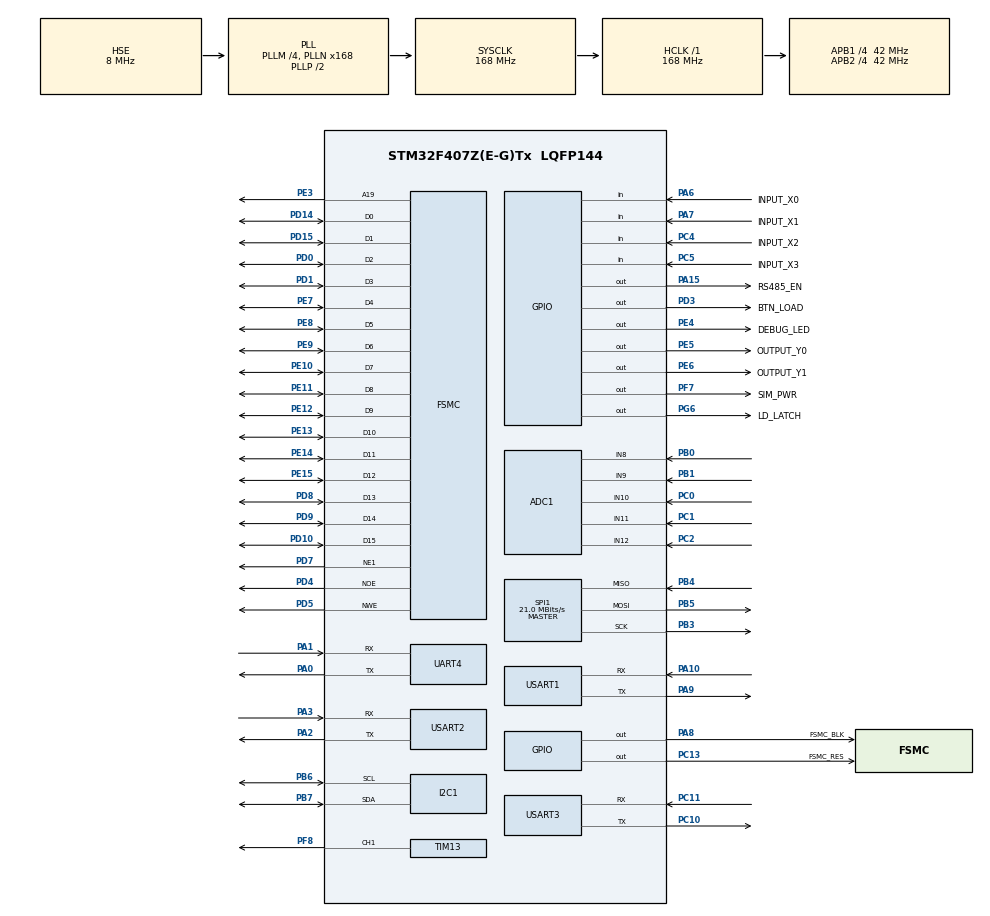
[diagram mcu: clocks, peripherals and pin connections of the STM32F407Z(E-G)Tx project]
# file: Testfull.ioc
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ADC1.Channel-0\#ChannelRegularConversion=ADC_CHANNEL_8
ADC1.Channel-1\#ChannelRegularConversion=ADC_CHANNEL_9
ADC1.Channel-2\#ChannelRegularConversion=ADC_CHANNEL_10
ADC1.Channel-3\#ChannelRegularConversion=ADC_CHANNEL_11
ADC1.Channel-4\#ChannelRegularConversion=ADC_CHANNEL_12
ADC1.NbrOfConversion=5
ADC1.NbrOfConversionFlag=1
ADC1.Rank-0\#ChannelRegularConversion=1
ADC1.Rank-1\#ChannelRegularConversion=2
ADC1.Rank-2\#ChannelRegularConversion=3
ADC1.Rank-3\#ChannelRegularConversion=4
ADC1.Rank-4\#ChannelRegularConversion=5
ADC1.SamplingTime-0\#ChannelRegularConversion=ADC_SAMPLETIME_15CYCLES
ADC1.SamplingTime-1\#ChannelRegularConversion=ADC_SAMPLETIME_15CYCLES
ADC1.SamplingTime-2\#ChannelRegularConversion=ADC_SAMPLETIME_15CYCLES
ADC1.SamplingTime-3\#ChannelRegularConversion=ADC_SAMPLETIME_15CYCLES
ADC1.SamplingTime-4\#ChannelRegularConversion=ADC_SAMPLETIME_15CYCLES
ADC1.ScanConvMode=ENABLE
ADC1.master=1
Dma.ADC1.0.Direction=DMA_PERIPH_TO_MEMORY
Dma.ADC1.0.FIFOMode=DMA_FIFOMODE_DISABLE
Dma.ADC1.0.Instance=DMA2_Stream0
Dma.ADC1.0.MemDataAlignment=DMA_MDATAALIGN_HALFWORD
Dma.ADC1.0.MemInc=DMA_MINC_ENABLE
Dma.ADC1.0.Mode=DMA_CIRCULAR
Dma.ADC1.0.PeriphDataAlignment=DMA_PDATAALIGN_HALFWORD
Dma.ADC1.0.PeriphInc=DMA_PINC_DISABLE
Dma.ADC1.0.Priority=DMA_PRIORITY_LOW
Dma.Request0=ADC1
FSMC.AddressSetupTime1=0xf
FSMC.BusTurnAroundDuration1=0
FSMC.DataSetupTime1=60
FSMC.ExtendedAddressSetupTime1=9
FSMC.ExtendedBusTurnAroundDuration1=0
FSMC.ExtendedDataSetupTime1=8
FSMC.ExtendedMode1=FSMC_EXTENDED_MODE_ENABLE
Mcu.Family=STM32F4
Mcu.Name=STM32F407Z(E-G)Tx
Mcu.Package=LQFP144
NVIC.DMA2_Stream0_IRQn=true\:0\:0\:false\:false\:true\:false\:true
NVIC.PriorityGroup=NVIC_PRIORITYGROUP_4
NVIC.TIM2_IRQn=true\:0\:0\:false\:false\:true\:true\:true
NVIC.UART4_IRQn=true\:0\:0\:false\:false\:true\:true\:true
NVIC.USART1_IRQn=true\:0\:0\:false\:false\:true\:true\:true
NVIC.USART2_IRQn=true\:0\:0\:false\:false\:true\:true\:true
NVIC.USART3_IRQn=true\:0\:0\:false\:false\:true\:true\:true
PA0-WKUP.Mode=Asynchronous
PA0-WKUP.Signal=UART4_TX
PA1.Mode=Asynchronous
PA1.Signal=UART4_RX
PA10.Mode=Asynchronous
PA10.Signal=USART1_RX
PA13.Mode=Serial_Wire
PA13.Signal=SYS_JTMS-SWDIO
PA14.Mode=Serial_Wire
PA14.Signal=SYS_JTCK-SWCLK
PA15.GPIO_Label=RS485_EN
PA15.Signal=GPIO_Output
PA2.Mode=Asynchronous
PA2.Signal=USART2_TX
PA3.Mode=Asynchronous
PA3.Signal=USART2_RX
PA6.GPIO_Label=INPUT_X0
PA6.Signal=GPIO_Input
PA7.GPIO_Label=INPUT_X1
PA7.Signal=GPIO_Input
PA8.GPIO_Label=FSMC_BLK
PA8.Signal=GPIO_Output
PA9.Mode=Asynchronous
PA9.Signal=USART1_TX
PB0.Signal=ADCx_IN8
PB1.Signal=ADCx_IN9
PB3.Mode=Full_Duplex_Master
PB3.Signal=SPI1_SCK
PB4.Mode=Full_Duplex_Master
PB4.Signal=SPI1_MISO
PB5.Mode=Full_Duplex_Master
PB5.Signal=SPI1_MOSI
PB6.Mode=I2C
PB6.Signal=I2C1_SCL
PB7.Mode=I2C
PB7.Signal=I2C1_SDA
PC0.Signal=ADCx_IN10
PC1.Signal=ADCx_IN11
PC10.Mode=Asynchronous
PC10.Signal=USART3_TX
PC11.Mode=Asynchronous
PC11.Signal=USART3_RX
PC13-ANTI_TAMP.GPIO_Label=FSMC_RES
PC13-ANTI_TAMP.Signal=GPIO_Output
PC2.Signal=ADCx_IN12
PC4.GPIO_Label=INPUT_X2
PC4.Signal=GPIO_Input
PC5.GPIO_Label=INPUT_X3
PC5.Signal=GPIO_Input
PD0.Signal=FSMC_D2_DA2
PD1.Signal=FSMC_D3_DA3
PD10.Signal=FSMC_D15_DA15
PD14.Signal=FSMC_D0_DA0
PD15.Signal=FSMC_D1_DA1
PD3.GPIO_Label=BTN_LOAD
PD3.Signal=GPIO_Output
PD4.Signal=FSMC_NOE
PD5.Signal=FSMC_NWE
PD7.Mode=NorPsramChipSelect1_1
PD7.Signal=FSMC_NE1
PD8.Signal=FSMC_D13_DA13
PD9.Signal=FSMC_D14_DA14
PE10.Signal=FSMC_D7_DA7
PE11.Signal=FSMC_D8_DA8
PE12.Signal=FSMC_D9_DA9
PE13.Signal=FSMC_D10_DA10
PE14.Signal=FSMC_D11_DA11
PE15.Signal=FSMC_D12_DA12
PE3.Signal=FSMC_A19
PE4.GPIO_Label=DEBUG_LED
PE4.Signal=GPIO_Output
PE5.GPIO_Label=OUTPUT_Y0
PE5.Signal=GPIO_Output
PE6.GPIO_Label=OUTPUT_Y1
PE6.Signal=GPIO_Output
PE7.Signal=FSMC_D4_DA4
PE8.Signal=FSMC_D5_DA5
PE9.Signal=FSMC_D6_DA6
PF7.GPIO_Label=SIM_PWR
PF7.Signal=GPIO_Output
PF8.Signal=S_TIM13_CH1
PG6.GPIO_Label=LD_LATCH
PG6.Signal=GPIO_Output
PH0-OSC_IN.Mode=HSE-External-Oscillator
PH0-OSC_IN.Signal=RCC_OSC_IN
PH1-OSC_OUT.Mode=HSE-External-Oscillator
PH1-OSC_OUT.Signal=RCC_OSC_OUT
ProjectManager.HeapSize=0x200
ProjectManager.StackSize=0x400
ProjectManager.TargetToolchain=STM32CubeIDE
RCC.48MHZClocksFreq_Value=84000000
RCC.AHBFreq_Value=168000000
RCC.APB1CLKDivider=RCC_HCLK_DIV4
RCC.APB1Freq_Value=42000000
RCC.APB1TimFreq_Value=84000000
RCC.APB2CLKDivider=RCC_HCLK_DIV4
RCC.APB2Freq_Value=42000000
RCC.APB2TimFreq_Value=84000000
RCC.CortexFreq_Value=168000000
RCC.HCLKFreq_Value=168000000
RCC.HSE_VALUE=8000000
RCC.HSI_VALUE=16000000
RCC.LSE_VALUE=32768
RCC.PLLM=4
RCC.PLLN=168
RCC.PLLSourceVirtual=RCC_PLLSOURCE_HSE
RCC.SYSCLKFreq_VALUE=168000000
RCC.SYSCLKSource=RCC_SYSCLKSOURCE_PLLCLK
RCC.VCOOutputFreq_Value=336000000
SH.ADCx_IN10.0=ADC1_IN10,IN10
SH.ADCx_IN11.0=ADC1_IN11,IN11
SH.ADCx_IN12.0=ADC1_IN12,IN12
SH.ADCx_IN8.0=ADC1_IN8,IN8
SH.ADCx_IN9.0=ADC1_IN9,IN9
SH.FSMC_A19.0=FSMC_A19,A19_1
SH.FSMC_D0_DA0.0=FSMC_D0,16b-d1
SH.FSMC_D10_DA10.0=FSMC_D10,16b-d1
SH.FSMC_D11_DA11.0=FSMC_D11,16b-d1
SH.FSMC_D12_DA12.0=FSMC_D12,16b-d1
SH.FSMC_D13_DA13.0=FSMC_D13,16b-d1
SH.FSMC_D14_DA14.0=FSMC_D14,16b-d1
SH.FSMC_D15_DA15.0=FSMC_D15,16b-d1
SH.FSMC_D1_DA1.0=FSMC_D1,16b-d1
SH.FSMC_D2_DA2.0=FSMC_D2,16b-d1
SH.FSMC_D3_DA3.0=FSMC_D3,16b-d1
SH.FSMC_D4_DA4.0=FSMC_D4,16b-d1
SH.FSMC_D5_DA5.0=FSMC_D5,16b-d1
SH.FSMC_D6_DA6.0=FSMC_D6,16b-d1
SH.FSMC_D7_DA7.0=FSMC_D7,16b-d1
SH.FSMC_D8_DA8.0=FSMC_D8,16b-d1
SH.FSMC_D9_DA9.0=FSMC_D9,16b-d1
SH.FSMC_NOE.0=FSMC_NOE,Lcd1
SH.FSMC_NWE.0=FSMC_NWE,Lcd1
SH.S_TIM13_CH1.0=TIM13_CH1,PWM Generation1 CH1
SPI1.CalculateBaudRate=21.0 MBits/s
SPI1.Direction=SPI_DIRECTION_2LINES
SPI1.Mode=SPI_MODE_MASTER
SPI1.VirtualType=VM_MASTER
TIM13.Channel=TIM_CHANNEL_1
TIM13.Period=100-1
TIM13.Prescaler=840-1
TIM2.Period=100-1
TIM2.Prescaler=840-1
UART4.VirtualMode=Asynchronous
USART1.VirtualMode=VM_ASYNC
USART2.VirtualMode=VM_ASYNC
USART3.VirtualMode=VM_ASYNC
VP_TIM13_VS_ClockSourceINT.Mode=Enable_Timer
VP_TIM2_VS_ClockSourceINT.Mode=Internal
board=custom

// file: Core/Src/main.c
/* USER CODE BEGIN Header */
/**
  ******************************************************************************
  * @file           : main.c
  * @brief          : Main program body
  ******************************************************************************
  * @attention
  *
  * <h2><center>&copy; Copyright (c) 2023 STMicroelectronics.
  * All rights reserved.</center></h2>
  *
  * This software component is licensed by ST under BSD 3-Clause license,
  * the "License"; You may not use this file except in compliance with the
  * License. You may obtain a copy of the License at:
  *                        opensource.org/licenses/BSD-3-Clause
  *
  ******************************************************************************
  */
/* USER CODE END Header */
#include "main.h"
#include "adc.h"
#include "dma.h"
#include "i2c.h"
#include "spi.h"
#include "tim.h"
#include "usart.h"
#include "gpio.h"
#include "fsmc.h"

/* USER CODE BEGIN Includes */
#include "software_timer.h"
#include "button.h"
#include "led7seg.h"
#include "lcd.h"
#include "picture.h"
#include "ds3231.h"
#include "sensor.h"
#include "buzzer.h"
#include "uart.h"
/* USER CODE END Includes */

/* USER CODE BEGIN PV */
uint8_t count_led_debug = 0;

uint8_t count_led_Y0 = 0;
uint8_t count_led_Y1 = 0;

uint16_t count_led7 = 0;
/* USER CODE END PV */

void SystemClock_Config(void);
/* USER CODE BEGIN PFP */
uint8_t count_adc = 0;
uint8_t count_uart = 0;
uint8_t checked = 0;

uint8_t isButtonUp();
uint8_t isButtonDown();
uint8_t isButtonRight();
uint8_t isButtonLeft();
uint8_t isButtonEnter();
uint8_t isButtonBack();

void system_init();
void test_LedDebug();
void test_Sim();
void test_Button();
void tesr_LedY0();
void test_LedY1();
void test_ADC();
void displayTime();
void test_Uart1();
void test_Uart2();
void test_Buzzer();
void test_Output();
void test_Esp();

/* USER CODE END PFP */

int main(void)
{

  /* MCU Configuration--------------------------------------------------------*/

  /* Reset of all peripherals, Initializes the Flash interface and the Systick. */
  HAL_Init();

  /* Configure the system clock */
  SystemClock_Config();

  /* Initialize all configured peripherals */
  MX_GPIO_Init();
  MX_TIM2_Init();
  MX_SPI1_Init();
  MX_FSMC_Init();
  MX_DMA_Init();
  MX_ADC1_Init();
  MX_TIM13_Init();
  MX_I2C1_Init();
  MX_USART1_UART_Init();
  MX_UART4_Init();
  MX_USART2_UART_Init();
  MX_USART3_UART_Init();
  /* USER CODE BEGIN 2 */
  system_init();
  lcd_Clear(BLACK);
  uart_Rs232SendString("Xin chao lop vdk");
  lcd_StrCenter(0, 10, "HARDWARE TESTING", GBLUE, BLACK, 16, 0);
  /* USER CODE END 2 */

  /* Infinite loop */
  /* USER CODE BEGIN WHILE */
  while (1)
  {
	  while(!flag_timer2);
	  flag_timer2 = 0;
	  button_Scan();
	  test_LedDebug();
	  test_Sim();
	  test_Button();
	  test_ADC();
	  displayTime();
	  test_Buzzer();
	  test_Input();
	  test_Output();
	  test_Uart1();
	  test_Esp();
    /* USER CODE END WHILE */

  }
}

void SystemClock_Config(void)
{
  RCC_OscInitTypeDef RCC_OscInitStruct = {0};
  RCC_ClkInitTypeDef RCC_ClkInitStruct = {0};

  /** Configure the main internal regulator output voltage
  */
  __HAL_RCC_PWR_CLK_ENABLE();
  __HAL_PWR_VOLTAGESCALING_CONFIG(PWR_REGULATOR_VOLTAGE_SCALE1);
  /** Initializes the RCC Oscillators according to the specified parameters
  * in the RCC_OscInitTypeDef structure.
  */
  RCC_OscInitStruct.OscillatorType = RCC_OSCILLATORTYPE_HSE;
  RCC_OscInitStruct.HSEState = RCC_HSE_ON;
  RCC_OscInitStruct.PLL.PLLState = RCC_PLL_ON;
  RCC_OscInitStruct.PLL.PLLSource = RCC_PLLSOURCE_HSE;
  RCC_OscInitStruct.PLL.PLLM = 4;
  RCC_OscInitStruct.PLL.PLLN = 168;
  RCC_OscInitStruct.PLL.PLLP = RCC_PLLP_DIV2;
  RCC_OscInitStruct.PLL.PLLQ = 4;
  if (HAL_RCC_OscConfig(&RCC_OscInitStruct) != HAL_OK)
  {
    Error_Handler();
  }
  /** Initializes the CPU, AHB and APB buses clocks
  */
  RCC_ClkInitStruct.ClockType = RCC_CLOCKTYPE_HCLK|RCC_CLOCKTYPE_SYSCLK
                              |RCC_CLOCKTYPE_PCLK1|RCC_CLOCKTYPE_PCLK2;
  RCC_ClkInitStruct.SYSCLKSource = RCC_SYSCLKSOURCE_PLLCLK;
  RCC_ClkInitStruct.AHBCLKDivider = RCC_SYSCLK_DIV1;
  RCC_ClkInitStruct.APB1CLKDivider = RCC_HCLK_DIV4;
  RCC_ClkInitStruct.APB2CLKDivider = RCC_HCLK_DIV4;

  if (HAL_RCC_ClockConfig(&RCC_ClkInitStruct, FLASH_LATENCY_5) != HAL_OK)
  {
    Error_Handler();
  }
}

/* USER CODE BEGIN 4 */
void system_init(){
	  HAL_GPIO_WritePin(OUTPUT_Y0_GPIO_Port, OUTPUT_Y0_Pin, 0);
	  HAL_GPIO_WritePin(OUTPUT_Y1_GPIO_Port, OUTPUT_Y1_Pin, 0);
	  HAL_GPIO_WritePin(DEBUG_LED_GPIO_Port, DEBUG_LED_Pin, 0);
	  timer_init();
	  led7_init();
	  button_init();
	  lcd_init();
	  ds3231_init();
	  sensor_init();
	  buzzer_init();
	  uart_init_rs232();
	  uart_init_rs485();
	  uart_init_Esp();
	  sim_init();
	  setTimer2(50);
	  HAL_Delay(1000);
}

void test_LedDebug(){
	count_led_debug = (count_led_debug + 1)%20;
	if(count_led_debug == 0){
		HAL_GPIO_TogglePin(DEBUG_LED_GPIO_Port, DEBUG_LED_Pin);
	}
}

void test_LedY0(){
	count_led_Y0 = (count_led_Y0+ 1)%100;
	if(count_led_Y0 > 40){
		HAL_GPIO_WritePin(OUTPUT_Y0_GPIO_Port, OUTPUT_Y0_Pin, 1);
	} else {
		HAL_GPIO_WritePin(OUTPUT_Y0_GPIO_Port, OUTPUT_Y0_Pin, 0);
	}
}

void test_LedY1(){
	count_led_Y1 = (count_led_Y1+ 1)%40;
	if(count_led_Y1 > 10){
		HAL_GPIO_WritePin(OUTPUT_Y1_GPIO_Port, OUTPUT_Y1_Pin, 0);
	} else {
		HAL_GPIO_WritePin(OUTPUT_Y0_GPIO_Port, OUTPUT_Y1_Pin, 1);
	}
}

void test_Button(){
	for(int i = 0; i < 16; i++){
		if(button_count[i] == 1){
			led7_SetDigit(i/10, 2, 0);
			led7_SetDigit(i%10, 3, 0);
		}
	}
	if(isButtonUp()) {
		count_led7 = (count_led7 + 1)%100;
	}
	if(isButtonDown()) {
		if(count_led7 > 0) count_led7--;
	}
	led7_SetDigit(count_led7/10, 0, 0);
	led7_SetDigit(count_led7%10, 1, 0);
}

void test_Output(){
	if(isButtonEnter()){
		led_On(6);
		led_On(7);
		led_On(8);
		HAL_GPIO_WritePin(OUTPUT_Y1_GPIO_Port, OUTPUT_Y1_Pin, 0);
		HAL_GPIO_WritePin(OUTPUT_Y0_GPIO_Port, OUTPUT_Y0_Pin, 0);
	}
	if(isButtonBack()){
		led_Off(6);
		led_Off(7);
		led_Off(8);
		HAL_GPIO_WritePin(OUTPUT_Y1_GPIO_Port, OUTPUT_Y1_Pin, 1);
		HAL_GPIO_WritePin(OUTPUT_Y0_GPIO_Port, OUTPUT_Y0_Pin, 1);
	}
}
void test_Buzzer(){
	if(isButtonLeft()){
		buzzer_SetVolume(50);
		buzzer_Ring();
	}
	if(isButtonRight()){
		buzzer_SetVolume(0);
		buzzer_Ring();
	}
}
void test_Sim(){
	if(isButtonEnter()) {
		sim_SendSMS();
	}
}

void test_ADC(){
	count_adc = (count_adc + 1)%20;
	if(count_adc == 0){
		sensor_Read();
		lcd_ShowStr(10, 100, "Voltage:", RED, BLACK, 16, 0);
//		lcd_ShowIntNum(130, 100, adc_receive[0], 4, RED, BLACK, 16);
		lcd_ShowFloatNum1(130, 100,sensor_GetVoltage(), 4, RED, BLACK, 16);
		lcd_ShowStr(10, 120, "Current:", RED, BLACK, 16, 0);
//		lcd_ShowIntNum(130, 120, adc_receive[1], 4, RED, BLACK, 16);
		lcd_ShowFloatNum1(130, 120,sensor_GetCurrent(), 4, RED, BLACK, 16);
		lcd_ShowStr(10, 140, "Light:", RED, BLACK, 16, 0);
		lcd_ShowIntNum(130, 140, adc_receive[2], 4, RED, BLACK, 16);
		lcd_ShowStr(10, 160, "Resistor:", RED, BLACK, 16, 0);
		lcd_ShowIntNum(130, 160, adc_receive[3], 4, RED, BLACK, 16);
		lcd_ShowStr(10, 180, "Temperature:", RED, BLACK, 16, 0);
//		lcd_ShowIntNum(130, 180, adc_receive[4], 4, RED, BLACK, 16);
		lcd_ShowFloatNum1(130, 180,sensor_GetTemperature(), 4, RED, BLACK, 16);
	}
}

void displayTime(){
	ds3231_ReadTime();
	lcd_ShowIntNum(70, 100, ds3231_hours, 2, GREEN, BLACK, 24);
	if(ds3231_hours < 10) lcd_ShowIntNum(70, 100, 0, 1, GREEN, BLACK, 24);
	lcd_ShowChar(95, 100, ':', WHITE, BLACK, 24, 0);
	lcd_ShowIntNum(110, 100, ds3231_min, 2, GREEN, BLACK, 24);
	if(ds3231_min < 10) lcd_ShowIntNum(110, 100, 0, 1, GREEN, BLACK, 24);
	lcd_ShowChar(135, 100, ':', WHITE, BLACK, 24, 0);
	lcd_ShowIntNum(150, 100, ds3231_sec, 2, GREEN, BLACK, 24);
	if(ds3231_sec < 10) lcd_ShowIntNum(150, 100, 0, 1, GREEN, BLACK, 24);
	switch(ds3231_day){
	case 1:
		lcd_ShowStr(20, 130, "MON", YELLOW, BLACK, 24, 1);
	case 2:
		lcd_ShowStr(20, 130, "TUE", YELLOW, BLACK, 24, 1);
	case 3:
		lcd_ShowStr(20, 130, "WED", YELLOW, BLACK, 24, 1);
	case 4:
		lcd_ShowStr(20, 130, "THU", YELLOW, BLACK, 24, 1);
	case 5:
		lcd_ShowStr(20, 130, "FRI", YELLOW, BLACK, 24, 1);
	case 6:
		lcd_ShowStr(20, 130, "SAT", YELLOW, BLACK, 24, 1);
	case 7:
		lcd_ShowStr(20, 130, "SUN", YELLOW, BLACK, 24, 1);
	}
	lcd_ShowIntNum(70, 130, ds3231_date, 2, YELLOW, BLACK, 24);
	if(ds3231_date < 10) lcd_ShowIntNum(70, 130, 0, 1, YELLOW, BLACK, 24);
	lcd_ShowChar(95, 130, '/', WHITE, BLACK, 24, 0);
	lcd_ShowIntNum(110, 130, ds3231_month, 2, YELLOW, BLACK, 24);
	if(ds3231_month < 10) lcd_ShowIntNum(110, 130, 0, 1, YELLOW, BLACK, 24);
	lcd_ShowChar(135, 130, '/', WHITE, BLACK, 24, 0);
	lcd_ShowIntNum(150, 130, 2000+ds3231_year, 4, YELLOW, BLACK, 24);
}

void test_Uart1(){
	count_uart = (count_uart + 1)%20;
		if(count_uart == 0){
			uart_Rs232SendString("Resistor: ");
			uart_Rs232SendNum(sensor_GetVarResistor());
			uart_Rs232SendString("\r\n");
		}
}

//void test_Uart2(){
////	uart_Rs232ReceiveString();
//	lcd_ShowStr(10, 120, uart_Rs232ReceiveString(), RED, BLACK, 16, 0);
//}

void test_Input(){
	lcd_ShowStr(10, 210, "INPUT_X0:", BLUE, BLACK, 16, 0);
	lcd_ShowIntNum(80, 210, HAL_GPIO_ReadPin(INPUT_X0_GPIO_Port, INPUT_X0_Pin), 4, BLUE, BLACK, 16);
	lcd_ShowStr(130, 210, "INPUT_X1:", BLUE, BLACK, 16, 0);
	lcd_ShowIntNum(200, 210, HAL_GPIO_ReadPin(INPUT_X1_GPIO_Port, INPUT_X1_Pin), 4, BLUE, BLACK, 16);
	lcd_ShowStr(10, 230, "INPUT_X2:", BLUE, BLACK, 16, 0);
	lcd_ShowIntNum(80, 230, HAL_GPIO_ReadPin(INPUT_X2_GPIO_Port, INPUT_X2_Pin), 4, BLUE, BLACK, 16);
	lcd_ShowStr(130, 230, "INPUT_X3:", BLUE, BLACK, 16, 0);
	lcd_ShowIntNum(200, 230, HAL_GPIO_ReadPin(INPUT_X3_GPIO_Port, INPUT_X3_Pin), 4, BLUE, BLACK, 16);
}
uint8_t isButtonUp(){
	if(button_count[3] == 1)
		return 1;
	else
		return 0;
}

void test_Esp(){
	uint8_t send = 'A';
	if(isButtonEnter()){
		HAL_UART_Transmit(&huart2, &send, 1,100);
	}
	if(checked == 0)
		lcd_ShowStr(10, 260, "Check Esp: ......      ", BRED, BLACK, 16, 0);
	if(flag_esp){
		flag_esp = 0;
		checked = 1;
		lcd_ShowStr(10, 260, "Check Esp: Successfully", BRED, BLACK, 16, 0);
	}
}

uint8_t isButtonDown(){
	if(button_count[7] == 1)
		return 1;
	else
		return 0;
}

uint8_t isButtonRight(){
	if(button_count[11] == 1)
		return 1;
	else
		return 0;
}

uint8_t isButtonLeft(){
	if(button_count[15] == 1)
		return 1;
	else
		return 0;
}

uint8_t isButtonEnter(){
	if(button_count[12] == 1)
		return 1;
	else
		return 0;
}

uint8_t isButtonBack(){
	if(button_count[14] == 1)
		return 1;
	else
		return 0;
}

/* USER CODE END 4 */

void Error_Handler(void)
{
  __disable_irq();
  while (1)
  {
  }
}

/************************ (C) COPYRIGHT STMicroelectronics *****END OF FILE****/
